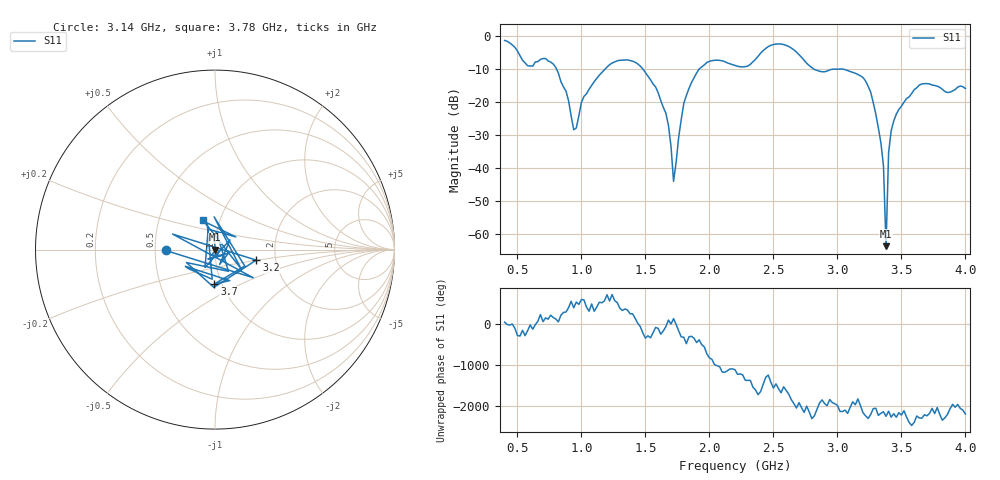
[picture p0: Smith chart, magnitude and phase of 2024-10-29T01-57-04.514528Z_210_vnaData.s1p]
!Created with skrf (http://scikit-rf.org).
# Hz S RI R 50.0
!freq ReS11 ImS11
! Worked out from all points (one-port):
!   181 points, 400 MHz to 4 GHz, reference 50 ohm
!   lowest |S11| = -63.8 dB at 3.38 GHz (marker M1), VSWR 1.00, Z = 50 - j0.0628 ohm
!   |S11| at or under -10 dB: 806.7 MHz to 1.184 GHz (377.3 MHz wide, 37.9 % of centre); 1.482 GHz to 1.918 GHz (436.1 MHz wide, 25.6 % of centre); 3.05 GHz to end of sweep (the widest 3 of 4)
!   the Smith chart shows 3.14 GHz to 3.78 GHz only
!   S11 on the Smith chart (normalised r, x): 3.14 GHz: 0.57, -0.01; 3.2 GHz: 1.58, -0.20; 3.7 GHz: 0.92, -0.37; 3.78 GHz: 0.83, +0.28
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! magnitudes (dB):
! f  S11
! 400 MHz  -1.2
! 580 MHz  -8.9
! 780 MHz  -8.4
! 860 MHz  -15.4
! 940 MHz  -28.4
! 1.02 GHz  -18.2
! 1.3 GHz  -7.2
! 1.58 GHz  -15.4
! 1.68 GHz  -27.0
! 1.72 GHz  -44.1
! 1.76 GHz  -30.6
! 1.8 GHz  -20.3
! 1.92 GHz  -9.9
! 2.2 GHz  -8.8
! 2.66 GHz  -4.1
! 3.1 GHz  -10.7
! 3.14 GHz  -11.2
! 3.2 GHz  -12.5
! 3.26 GHz  -16.9
! 3.34 GHz  -32.4
! 3.36 GHz  -39.3
! 3.38 GHz  -63.8
! 3.4 GHz  -35.4
! 3.42 GHz  -28.7
! 3.56 GHz  -18.4
! 3.7 GHz  -14.3
! 3.78 GHz  -15.1
! 4 GHz  -15.8
